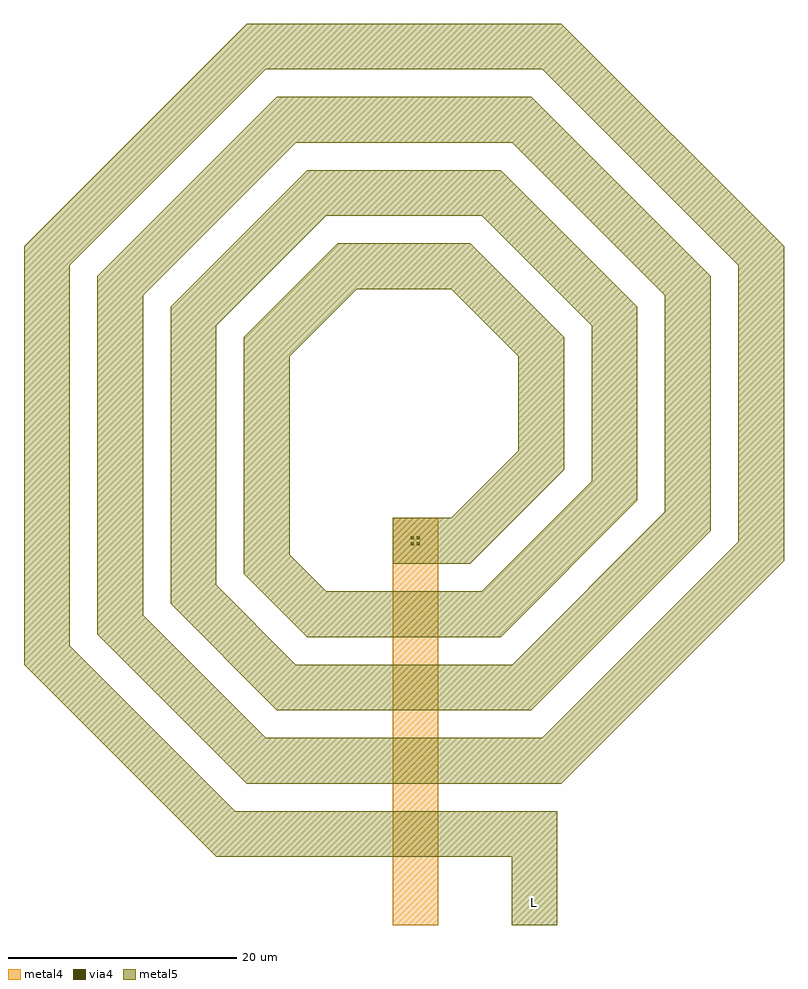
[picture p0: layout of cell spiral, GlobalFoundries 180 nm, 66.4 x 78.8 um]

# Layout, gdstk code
import gdstk
lib = gdstk.Library(unit=1e-6, precision=1e-09)
def R(c, l, rs):  # rectangles x0, y0, x1, y1
    for r in rs: c.add(gdstk.rectangle(r[:2], r[2:], *l))
def P(c, l, *ps):  # polygons
    for p in ps: c.add(gdstk.Polygon(p, *l))
via4 = (41, 0)
metal4 = (46, 0)
metal5 = (81, 0)

spiral = lib.new_cell('spiral')
R(spiral, via4, [(0.61,-12.39,0.87,-12.13), (1.13,-12.39,1.39,-12.13), (0.61,-11.87,0.87,-11.61), (1.13,-11.87,1.39,-11.61)])
R(spiral, metal4, [(-1,-45.6,3,-10), (0.6,-12.45,1.4,-11.55)])
R(spiral, metal5, [(9.4,-45.6,13.4,-41.6), (0.6,-12.45,1.4,-11.55)])
P(spiral, metal5, [(9.4,-45.6),(9.4,-39.6),(-16.405,-39.6),(-33.2,-22.805),(-33.2,13.755),(-13.755,33.2),(13.755,33.2),(33.2,13.755),(33.2,-13.755),(13.755,-33.2),(-13.755,-33.2),(-26.8,-20.155),(-26.8,11.1),(-11.1,26.8),(11.1,26.8),(26.8,11.1),(26.8,-11.1),(11.1,-26.8),(-11.1,-26.8),(-20.4,-17.5),(-20.4,8.45),(-8.45,20.4),(8.45,20.4),(20.4,8.45),(20.4,-8.45),(8.45,-20.4),(-8.45,-20.4),(-14,-14.85),(-14,5.8),(-5.8,14),(5.8,14),(14,5.8),(14,-5.8),(5.8,-14),(-1,-14),(-1,-10),(4.14,-10),(10,-4.14),(10,4.14),(4.14,10),(-4.14,10),(-10,4.14),(-10,-13.19),(-6.79,-16.4),(6.79,-16.4),(16.4,-6.79),(16.4,6.79),(6.79,16.4),(-6.79,16.4),(-16.4,6.79),(-16.4,-15.84),(-9.44,-22.8),(9.44,-22.8),(22.8,-9.44),(22.8,9.44),(9.44,22.8),(-9.44,22.8),(-22.8,9.44),(-22.8,-18.495),(-12.095,-29.2),(12.095,-29.2),(29.2,-12.095),(29.2,12.095),(12.095,29.2),(-12.095,29.2),(-29.2,12.095),(-29.2,-21.145),(-14.745,-35.6),(13.4,-35.6),(13.4,-45.6)])
spiral.add(gdstk.Label('L', (11.4,-43.6), layer=81, texttype=10))

lib.write_gds('spiral.gds')
